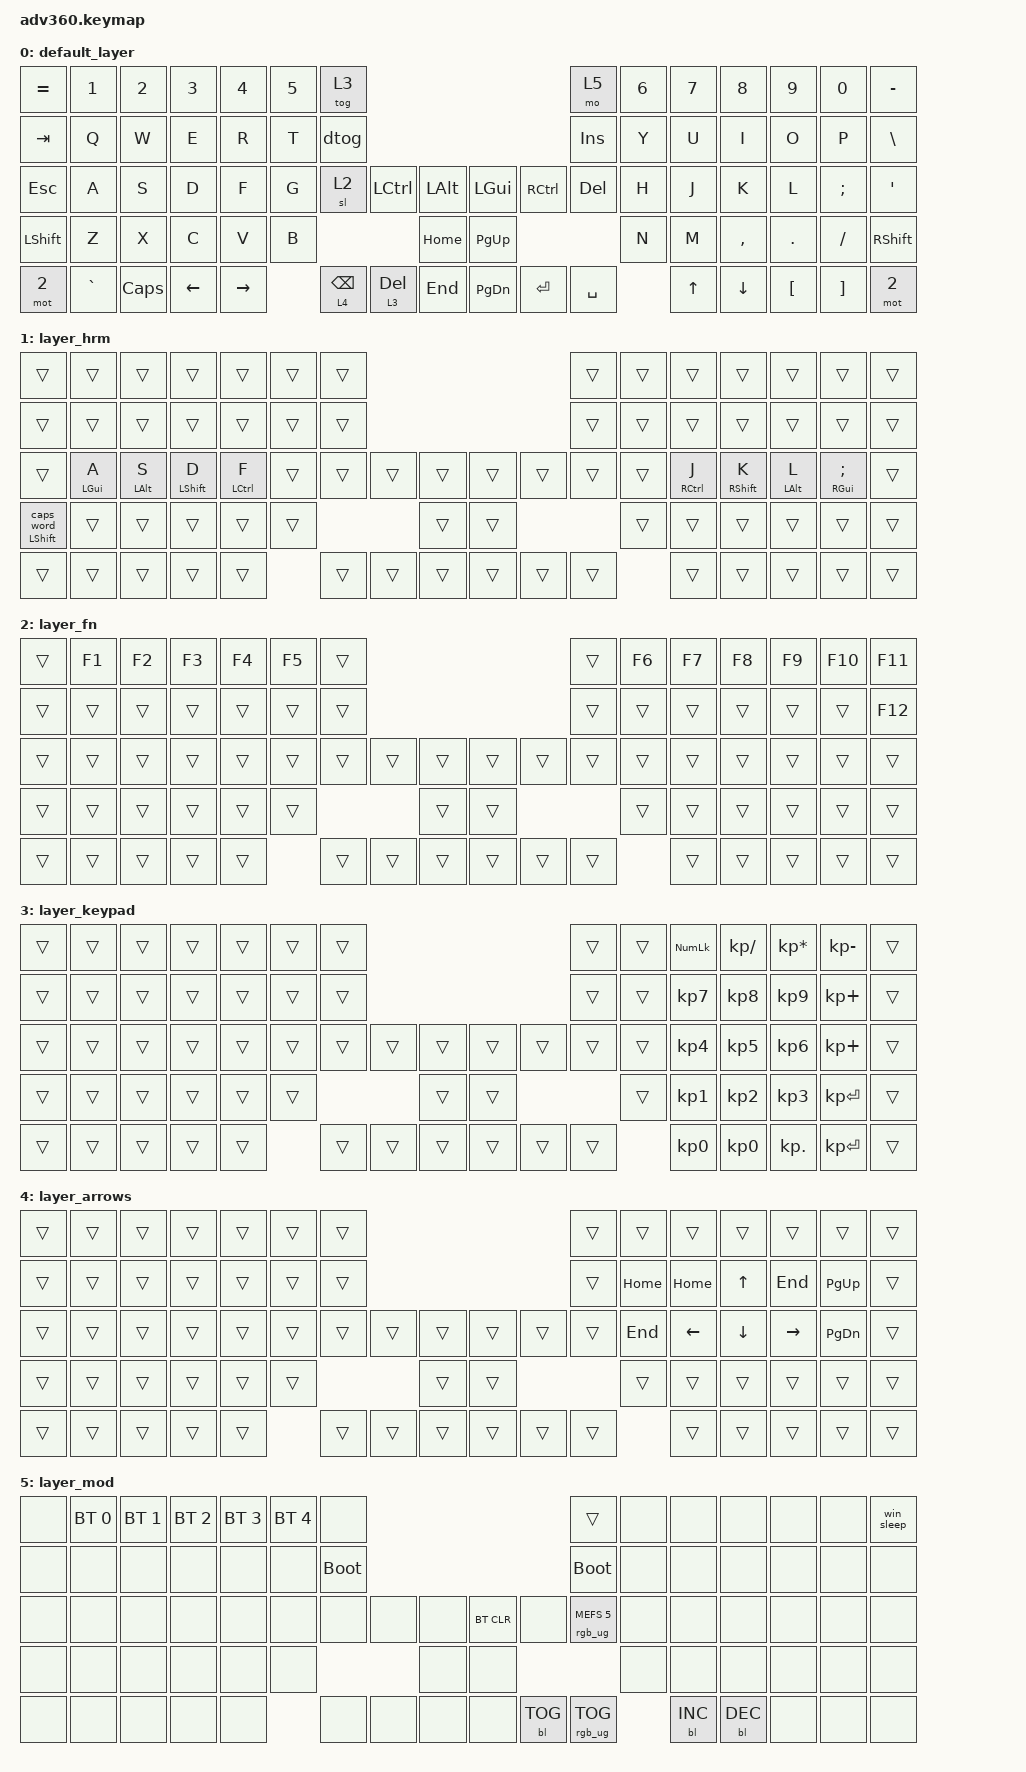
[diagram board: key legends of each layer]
/*
 * Copyright (c) 2020 The ZMK Contributors
 *
 * SPDX-License-Identifier: MIT
 */
/* THIS FILE WAS GENERATED!
 *
 * This file was generated automatically. You may or may not want to
 * edit it directly.
 */

#include <behaviors.dtsi>
#include <dt-bindings/zmk/backlight.h>
#include <dt-bindings/zmk/bt.h>
#include <dt-bindings/zmk/keys.h>
#include <dt-bindings/zmk/rgb.h>

/ {
    behaviors {
        #include "macros.dtsi"
    #include "version.dtsi"

        hm: homerow_mods {
            compatible = "zmk,behavior-hold-tap";
            label = "HOMEROW_MODS";
            #binding-cells = <2>;
            tapping-term-ms = <200>;
            quick_tap_ms = <175>;
            flavor = "tap-preferred";
            bindings = <&kp>, <&kp>;
        };

        dtog: double_tap {
            compatible = "zmk,behavior-tap-dance";
            label = "DOUBLE_TAP";
            #binding-cells = <0>;
            bindings = <&none>, <&tog 1>;
        };

        hmcw: hmcw {
            compatible = "zmk,behavior-hold-tap";
            label = "HMCW";
            #binding-cells = <2>;
            tapping-term-ms = <200>;
            quick_tap_ms = <175>;
            flavor = "tap-preferred";
            bindings = <&kp>, <&caps_word>;
        };
    };

    combos {
        compatible = "zmk,combos";

        cFN {
            bindings = <&tog 2>;
            key-positions = <60 75>;
        };
    };

    macros {
        mot: mot {
            compatible = "zmk,behavior-macro-one-param";
            #binding-cells = <1>;
            bindings =
                <&macro_tap>,
                <&macro_param_1to1 &tog MACRO_PLACEHOLDER>,
                <&macro_pause_for_release>,
                <&macro_tap>,
                <&macro_param_1to1 &tog 0>;

            label = "MOT";
        };

        win_sleep: win_sleep {
            compatible = "zmk,behavior-macro";
            #binding-cells = <0>;
            bindings = <&macro_tap>, <&kp LG(X) &kp U &kp S>;

            label = "WIN_SLEEP";
            wait-ms = <50>;
            tap-ms = <5>;
        };
    };

    keymap {
        compatible = "zmk,keymap";

        default_layer {
            bindings = <
&kp EQUAL  &kp N1     &kp N2        &kp N3    &kp N4     &kp N5  &tog 3                                                             &mo 5       &kp N6  &kp N7  &kp N8     &kp N9    &kp N0    &kp MINUS
&kp TAB    &kp Q      &kp W         &kp E     &kp R      &kp T   &dtog                                                              &kp INSERT  &kp Y   &kp U   &kp I      &kp O     &kp P     &kp BSLH
&kp ESC    &kp A      &kp S         &kp D     &kp F      &kp G   &sl 2            &kp LCTRL     &kp LALT      &kp LGUI   &kp RCTRL  &kp DELETE  &kp H   &kp J   &kp K      &kp L     &kp SEMI  &kp SQT
&kp LSHFT  &kp Z      &kp X         &kp C     &kp V      &kp B                                  &kp HOME      &kp PG_UP                         &kp N   &kp M   &kp COMMA  &kp DOT   &kp FSLH  &kp RSHFT
&mot 2     &kp GRAVE  &kp CAPSLOCK  &kp LEFT  &kp RIGHT          &lt 4 BACKSPACE  &lt 3 DELETE  &kp END       &kp PG_DN  &kp ENTER  &kp SPACE           &kp UP  &kp DOWN   &kp LBKT  &kp RBKT  &mot 2
            >;
        };

        layer_hrm {
            bindings = <
&trans              &trans          &trans          &trans            &trans       &trans  &trans                                      &trans  &trans  &trans       &trans             &trans          &trans                   &trans
&trans              &trans          &trans          &trans            &trans       &trans  &trans                                      &trans  &trans  &trans       &trans             &trans          &trans                   &trans
&trans              &hm LEFT_GUI A  &hm LEFT_ALT S  &hm LEFT_SHIFT D  &hm LCTRL F  &trans  &trans  &trans  &trans      &trans  &trans  &trans  &trans  &hm RCTRL J  &hm RIGHT_SHIFT K  &hm LEFT_ALT L  &hm RIGHT_GUI SEMICOLON  &trans
&hmcw LEFT_SHIFT 0  &trans          &trans          &trans            &trans       &trans                  &trans      &trans                  &trans  &trans       &trans             &trans          &trans                   &trans
&trans              &trans          &trans          &trans            &trans               &trans  &trans  &trans      &trans  &trans  &trans          &trans       &trans             &trans          &trans                   &trans
            >;
        };

        layer_fn {
            bindings = <
&trans  &kp F1  &kp F2  &kp F3  &kp F4  &kp F5  &trans                                      &trans  &kp F6  &kp F7  &kp F8  &kp F9  &kp F10  &kp F11
&trans  &trans  &trans  &trans  &trans  &trans  &trans                                      &trans  &trans  &trans  &trans  &trans  &trans   &kp F12
&trans  &trans  &trans  &trans  &trans  &trans  &trans  &trans  &trans      &trans  &trans  &trans  &trans  &trans  &trans  &trans  &trans   &trans
&trans  &trans  &trans  &trans  &trans  &trans                  &trans      &trans                  &trans  &trans  &trans  &trans  &trans   &trans
&trans  &trans  &trans  &trans  &trans          &trans  &trans  &trans      &trans  &trans  &trans          &trans  &trans  &trans  &trans   &trans
            >;
        };

        layer_keypad {
            bindings = <
&trans  &trans  &trans  &trans  &trans  &trans  &trans                                      &trans  &trans  &kp KP_NUM  &kp KP_DIVIDE  &kp KP_MULTIPLY  &kp KP_SUBTRACT  &trans
&trans  &trans  &trans  &trans  &trans  &trans  &trans                                      &trans  &trans  &kp KP_N7   &kp KP_N8      &kp KP_N9        &kp KP_PLUS      &trans
&trans  &trans  &trans  &trans  &trans  &trans  &trans  &trans  &trans      &trans  &trans  &trans  &trans  &kp KP_N4   &kp KP_N5      &kp KP_N6        &kp KP_PLUS      &trans
&trans  &trans  &trans  &trans  &trans  &trans                  &trans      &trans                  &trans  &kp KP_N1   &kp KP_N2      &kp KP_N3        &kp KP_ENTER     &trans
&trans  &trans  &trans  &trans  &trans          &trans  &trans  &trans      &trans  &trans  &trans          &kp KP_N0   &kp KP_N0      &kp KP_DOT       &kp KP_ENTER     &trans
            >;
        };

        layer_arrows {
            bindings = <
&trans  &trans  &trans  &trans  &trans  &trans  &trans                                      &trans  &trans    &trans    &trans    &trans     &trans     &trans
&trans  &trans  &trans  &trans  &trans  &trans  &trans                                      &trans  &kp HOME  &kp HOME  &kp UP    &kp END    &kp PG_UP  &trans
&trans  &trans  &trans  &trans  &trans  &trans  &trans  &trans  &trans      &trans  &trans  &trans  &kp END   &kp LEFT  &kp DOWN  &kp RIGHT  &kp PG_DN  &trans
&trans  &trans  &trans  &trans  &trans  &trans                  &trans      &trans                  &trans    &trans    &trans    &trans     &trans     &trans
&trans  &trans  &trans  &trans  &trans          &trans  &trans  &trans      &trans  &trans  &trans            &trans    &trans    &trans     &trans     &trans
            >;
        };

        layer_mod {
            bindings = <
&none  &bt BT_SEL 0  &bt BT_SEL 1  &bt BT_SEL 2  &bt BT_SEL 3  &bt BT_SEL 4  &none                                                  &trans                  &none  &none       &none       &none  &none  &win_sleep
&none  &none         &none         &none         &none         &none         &bootloader                                            &bootloader             &none  &none       &none       &none  &none  &none
&none  &none         &none         &none         &none         &none         &none        &none  &none      &bt BT_CLR  &none       &rgb_ug RGB_MEFS_CMD 5  &none  &none       &none       &none  &none  &none
&none  &none         &none         &none         &none         &none                             &none      &none                                           &none  &none       &none       &none  &none  &none
&none  &none         &none         &none         &none                       &none        &none  &none      &none       &bl BL_TOG  &rgb_ug RGB_TOG                &bl BL_INC  &bl BL_DEC  &none  &none  &none
            >;
        };
    };
};
